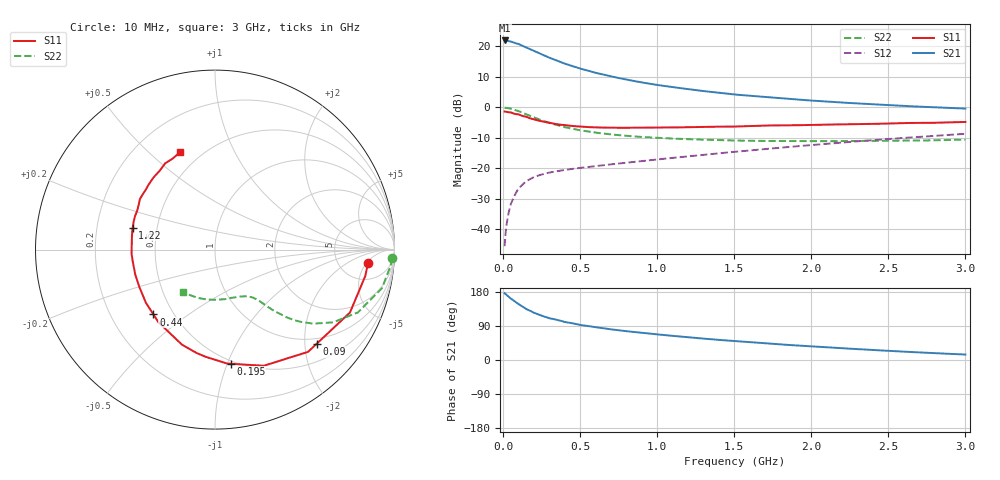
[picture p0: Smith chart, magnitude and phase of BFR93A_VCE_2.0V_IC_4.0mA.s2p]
! Infineon Technologies  Discrete & RF Semiconductors
! BFR93A
! VCE =  2.0 V,  IC =  4.0 mA
! Common Emitter S-Parameters:  Nov 2015
# GHz  S  MA  R  50
!  f  S11  S21  S12  S22
! GHz  MAG  ANG  MAG  ANG  MAG  ANG  MAG  ANG
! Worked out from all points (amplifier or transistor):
!   180 points, 10 MHz to 3 GHz, reference 50 ohm
!   highest |S21| = 22.0 dB at 10 MHz (marker M1)
!   |S21| within 3 dB of that: start of sweep to 181.7 MHz
!   unconditionally stable (mu >= 1): 790 MHz to 2.959 GHz
!   at 160 MHz: K = 0.29, MSG = 21.7 dB, |S12| = -23.9 dB
!   at 1.22 GHz: K = 1.14, MAG = 8.6 dB, |S12| = -15.9 dB
!   at 3 GHz: K = 0.99, MSG = 4.1 dB, |S12| = -8.7 dB
!   S11 on the Smith chart (normalised r, x): 10 MHz: 10, -6; 90 MHz: 0.87, -2.26; 195 MHz: 0.48, -1.03; 440 MHz: 0.39, -0.37; 1.22 GHz: 0.36, +0.11; 3 GHz: 0.39, +0.63
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0.01  0.8561 -5.1  12.52 176.2  0.0053 86.8  0.9882 -2.8
0.02  0.85 -10.0  12.48 172.6  0.0105 83.6  0.9827 -5.3
0.05  0.8297 -25.0  12.07 162.1  0.0257 76.8  0.9547 -13.0
0.09  0.772 -42.9  11.13 150.5  0.0423 67.2  0.8844 -21.4
0.1  0.7703 -47.7  10.97 147.3  0.0466 65.9  0.8701 -23.7
0.15  0.7021 -67.2  9.656 134.6  0.0615 57.6  0.7732 -31.6
0.195  0.6422 -82.1  8.565 125.8  0.0709 52.8  0.6945 -36.4
0.24  0.5997 -94.9  7.593 118.4  0.078 49.1  0.6271 -40.0
0.26  0.5854 -100.0  7.215 115.5  0.0806 47.9  0.6015 -41.2
0.3  0.561 -109.1  6.535 110.4  0.0853 46.1  0.5569 -43.1
0.4  0.513 -127.9  5.218 100.4  0.0943 44.0  0.4735 -46.1
0.44  0.4984 -133.5  4.853 97.6  0.0973 43.8  0.4525 -46.7
0.52  0.4814 -144.5  4.2 91.5  0.1032 43.7  0.414 -47.8
0.6  0.4702 -153.6  3.695 86.4  0.1089 44.2  0.3852 -48.9
0.7  0.4656 -162.4  3.217 80.9  0.1164 45.2  0.3602 -50.2
0.9  0.4654 -177.5  2.563 71.8  0.1315 47.4  0.3269 -53.4
1.02  0.4655 175.3  2.295 66.8  0.1417 48.6  0.3152 -55.6
1.22  0.4747 165.1  1.964 59.4  0.1597 49.9  0.2996 -60.6
1.52  0.4864 152.6  1.612 49.3  0.1885 51.2  0.2858 -69.3
2.02  0.5174 135.7  1.285 35.5  0.2434 50.8  0.2792 -86.3
2.52  0.5468 122.1  1.083 23.8  0.3057 47.6  0.2834 -105.7
3  0.5773 109.5  0.956 14.4  0.3687 42.8  0.2966 -126.9
